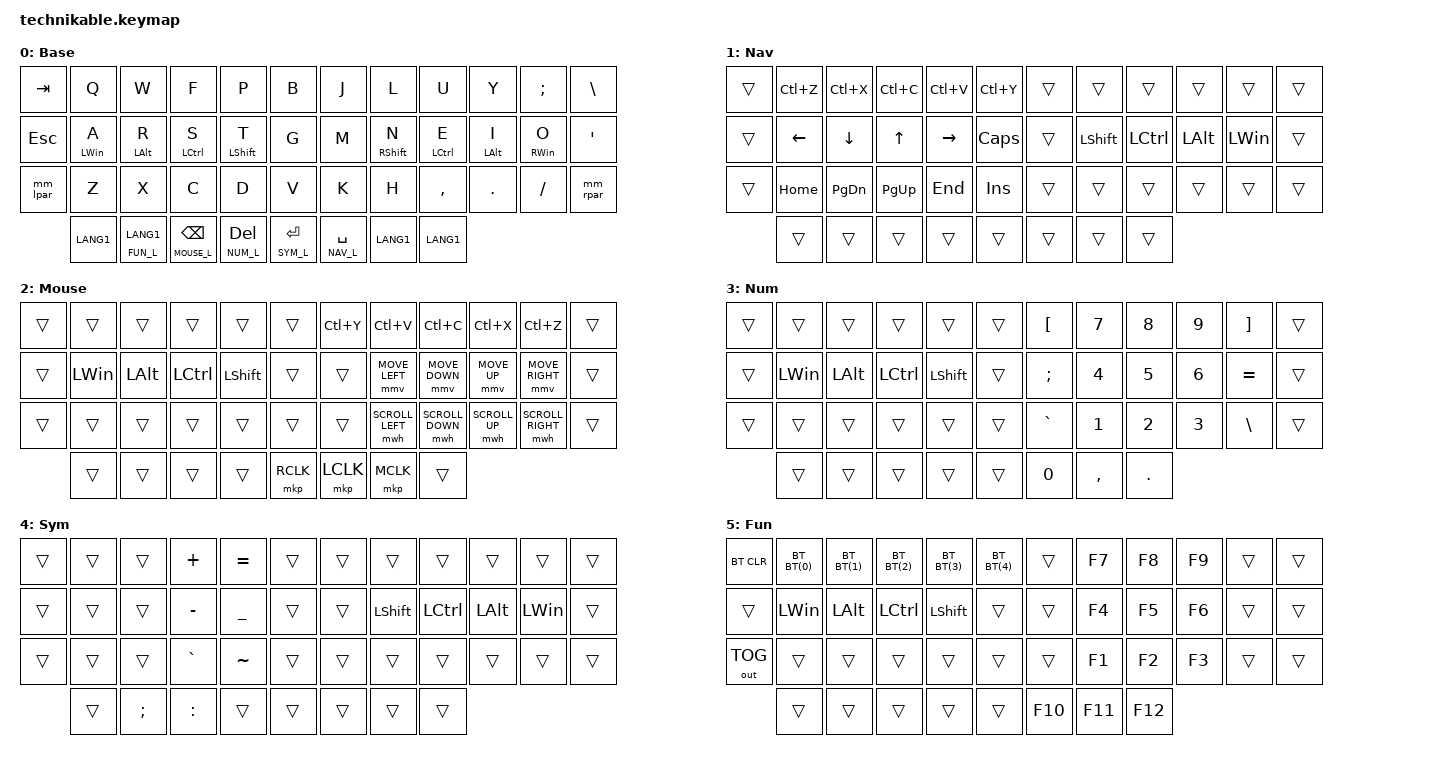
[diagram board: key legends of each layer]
/*
 * Copyright (c) 2022 Pete Johanson
 *
 * SPDX-License-Identifier: MIT
 */

#include <behaviors.dtsi>
#include <dt-bindings/zmk/keys.h>
#include <dt-bindings/zmk/bt.h>
#include <dt-bindings/zmk/outputs.h>
#include <dt-bindings/zmk/mouse.h>

#define TBLE_ORTHO   true


#define BAS_L 0
#define NAV_L 1
#define MOUSE_L 2
#define NUM_L 3
#define SYM_L 4
#define FUN_L 5

// Using layer taps on thumbs, having quick tap as well helps w/ repeating space/backspace
&lt { quick_tap_ms = <200>; };

#define BT(n) BT_SEL n

/ {
    chosen {
       zmk,matrix_transform = &ortho_transform;
    };
    
    macros {
        lparm: lparm {
            label = "l_par_m";
            compatible = "zmk,behavior-macro";
            #binding-cells = <0>;
            bindings
                = <&macro_release &kp LCTRL>
                , <&macro_tap &kp LBKT>
                ;
        };
        rparm: rparm {
            label = "r_par_m";
            compatible = "zmk,behavior-macro";
            #binding-cells = <0>;
            bindings
                = <&macro_release &kp LCTRL>
                , <&macro_tap &kp RBKT>
                ;
        };
    };
    
    
    combos {
         compatible = "zmk,combos";
	 combo_q {
	     timeout-ms = <50>;
	     key-positions = <38 1>;
	     bindings = <&kp LBRC>;
	 };
	 combo_w {
	     timeout-ms = <50>;
	     key-positions = <38 2>;
	     bindings = <&kp RBRC>;
	 };
	 combo_a {
	     timeout-ms = <50>;
	     key-positions = <38 13>;
	     bindings = <&kp LPAR>;
	 };
	 combo_r {
	     timeout-ms = <50>;
	     key-positions = <38 14>;
	     bindings = <&kp RPAR>;
	 };
	 combo_z {
	     timeout-ms = <50>;
	     key-positions = <38 25>;
	     bindings = <&kp LBKT>;
	 };
	 combo_x {
	     timeout-ms = <50>;
	     key-positions = <38 26>;
	     bindings = <&kp RBKT>;
	 };
	 combo_f {
	     timeout-ms = <50>;
	     key-positions = <38 3>;
	     bindings = <&kp PLUS>;
	 };
	 combo_p {
	     timeout-ms = <50>;
	     key-positions = <38 4>;
	     bindings = <&kp EQUAL>;
	 };
	 combo_s {
	     timeout-ms = <50>;
	     key-positions = <38 15>;
	     bindings = <&kp MINUS>;
	 };
	 combo_t {
	     timeout-ms = <50>;
	     key-positions = <38 16>;
	     bindings = <&kp UNDER>;
	 };
	 combo_c {
	     timeout-ms = <50>;
	     key-positions = <38 27>;
	     bindings = <&kp GRAVE>;
	 };
	 combo_d {
	     timeout-ms = <50>;
	     key-positions = <38 28>;
	     bindings = <&kp TILDE>;
	 };
    };
    
    behaviors {
        mm_lpar: mod_morphed_lpar {
            compatible = "zmk,behavior-mod-morph";
            label = "MOD_MORPHED_LPAR";
            #binding-cells = <0>;
            bindings = <&kp LPAR>, <&lparm>;
            mods = <(MOD_LSFT|MOD_RSFT|MOD_LCTL)>;
        };
        mm_rpar: mod_morphed_rpar {
            compatible = "zmk,behavior-mod-morph";
            label = "MOD_MORPHED_RPAR";
            #binding-cells = <0>;
            bindings = <&kp RPAR>, <&rparm>;
            mods = <(MOD_LSFT|MOD_RSFT|MOD_LCTL)>;
        };
        bhm: balanced_homerow_mods {
            compatible = "zmk,behavior-hold-tap";
            label = "HOMEROW_MODS";
            #binding-cells = <2>;
            tapping-term-ms = <200>;    // <---[[moderate duration]]
            quick-tap-ms = <0>;
            flavor = "balanced";
            bindings = <&kp>, <&kp>;
        };
    };

    keymap {
        compatible = "zmk,keymap";

        base_layer {
            label = "Base";
            bindings = <
&kp TAB	&kp Q	&kp W	&kp F	&kp P	&kp B	&kp J	&kp L	&kp U	&kp Y	&kp SEMI	&kp BSLH
&kp ESC	&bhm LWIN A	&bhm LALT R	&bhm LCTRL S	&bhm LSHFT T	&kp G	&kp M	&bhm RSHFT N	&bhm LCTRL E	&bhm LALT I	&bhm RWIN O	&kp SQT
&mm_lpar	&kp Z	&kp X	&kp C	&kp D	&kp V	&kp K	&kp H	&kp COMMA	&kp DOT	&kp FSLH	&mm_rpar
		&kp LANG1	&lt FUN_L LANG1	&lt MOUSE_L BSPC	&lt NUM_L DEL	&lt SYM_L RET	&lt NAV_L SPACE	&kp LANG1	&kp LANG1		
            >;
        };

        nav_layer {
            label = "Nav";
            bindings = <
&trans	&kp LC(Z)	&kp LC(X)	&kp LC(C)	&kp LC(V)	&kp LC(Y)	&trans	&trans	&trans	&trans	&trans	&trans
&trans	&kp LEFT	&kp DOWN	&kp UP	&kp RIGHT	&kp CAPS	&trans	&kp LSHFT	&kp LCTRL	&kp LALT	&kp LWIN	&trans
&trans	&kp HOME	&kp PG_DN	&kp PG_UP	&kp END	&kp INS	&trans	&trans	&trans	&trans	&trans	&trans
		&trans	&trans	&trans	&trans	&trans	&trans	&trans	&trans			
            >;
        };
        
        mouse_layer {
            label = "Mouse";
            bindings = <
&trans	&trans	&trans	&trans	&trans	&trans	&kp LC(Y)	&kp LC(V)	&kp LC(C)	&kp LC(X)	&kp LC(Z)	&trans
&trans	&kp LWIN	&kp LALT	&kp LCTRL	&kp LSHFT	&trans	&trans	&mmv MOVE_LEFT	&mmv MOVE_DOWN	&mmv MOVE_UP	&mmv MOVE_RIGHT	&trans
&trans	&trans	&trans	&trans	&trans	&trans	&trans	&mwh SCROLL_LEFT	&mwh SCROLL_DOWN	&mwh SCROLL_UP	&mwh SCROLL_RIGHT	&trans
		&trans	&trans	&trans	&trans	&mkp RCLK	&mkp LCLK	&mkp MCLK	&trans		
            >;
        };


        num_layer {
            label = "Num";
            bindings = <
&trans	&trans	&trans	&trans	&trans	&trans	&kp LBKT	&kp N7	&kp N8	&kp N9	&kp RBKT	&trans
&trans	&kp LWIN	&kp LALT	&kp LCTRL	&kp LSHFT	&trans	&kp SEMI	&kp N4	&kp N5	&kp N6	&kp EQUAL	&trans
&trans	&trans	&trans	&trans	&trans	&trans	&kp GRAVE	&kp N1	&kp N2	&kp N3	&kp BSLH	&trans
		&trans	&trans	&trans	&trans	&trans	&kp N0	&kp COMMA	&kp DOT		
            >;
        };

        sym_layer {
            label = "Sym";
            bindings = <
&trans	&trans	&trans	&kp PLUS	&kp EQUAL	&trans	&trans	&trans	&trans	&trans	&trans	&trans
&trans	&trans	&trans	&kp MINUS	&kp UNDER	&trans	&trans	&kp LSHFT	&kp LCTRL	&kp LALT	&kp LWIN	&trans
&trans	&trans	&trans	&kp GRAVE	&kp TILDE	&trans	&trans	&trans	&trans	&trans	&trans	&trans
		&trans	&kp SEMI	&kp COLON	&trans	&trans	&trans	&trans	&trans		
            >;
        };
	
	fun_layer {
            label = "Fun";
            bindings = <
&bt BT_CLR	&bt BT(0)	&bt BT(1)	&bt BT(2)	&bt BT(3)	&bt BT(4)	&trans	&kp F7	&kp F8	&kp F9	&trans	&trans
&trans	&kp LWIN	&kp LALT	&kp LCTRL	&kp LSHFT	&trans	&trans	&kp F4	&kp F5	&kp F6	&trans	&trans
&out OUT_TOG	&trans	&trans	&trans	&trans	&trans	&trans	&kp F1	&kp F2	&kp F3	&trans	&trans
		&trans	&trans	&trans	&trans	&trans	&kp F10	&kp F11	&kp F12		
            >;
        };

    };
};

